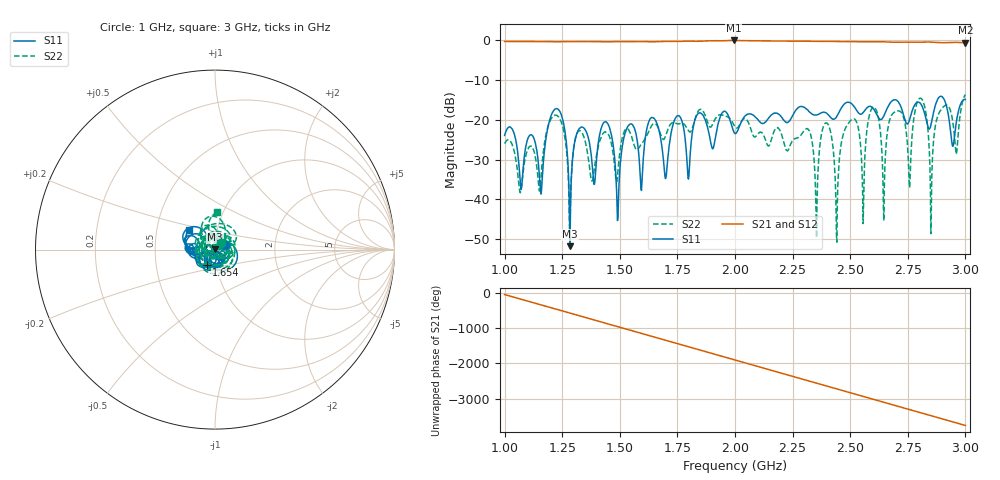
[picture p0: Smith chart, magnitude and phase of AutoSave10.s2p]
!Agilent N9923A: A.05.17
!Date: Sunday, 01 January 2006 13:13:32
!Model: N9923A
!Serial: MY50371189
!CHECKSUM:1636040764
!Correction: S11(ON U)S21(OFF)S12(OFF)S22(OFF)
!S2P File: Measurements:S11,S21,S12,S22:
# Hz S DB R 50
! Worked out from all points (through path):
!   1001 points, 1 GHz to 3 GHz, reference 50 ohm
!   highest |S21| = -0.04 dB at 1.994 GHz (marker M1); lowest = -0.6 dB at 3 GHz (marker M2)
!   group delay of S21, straight-line fit = 5.14 ns
!   lowest |S11| = -51.8 dB at 1.284 GHz (marker M3), VSWR 1.01, Z = 50 + j0.257 ohm
!   |S11| at or under -10 dB: start of sweep to end of sweep
!   |S22| runs from -50.8 to -13.6 dB; largest |S21 - S12| = 0.0057
!   S11 on the Smith chart (normalised r, x): 1 GHz: 1.12, +0.06; 1.654 GHz: 0.90, -0.16; 3 GHz: 0.73, +0.16
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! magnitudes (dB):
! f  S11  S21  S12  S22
! 1 GHz  -23.9  -0.3  -0.3  -26.0
! 1.158 GHz  -38.7  -0.3  -0.3  -34.3
! 1.232 GHz  -17.3  -0.4  -0.4  -19.1
! 1.284 GHz  -51.8  -0.3  -0.3  -47.1
! 1.334 GHz  -21.8  -0.3  -0.3  -23.1
! 1.448 GHz  -21.0  -0.4  -0.4  -23.5
! 1.49 GHz  -45.3  -0.3  -0.3  -34.0
! 1.654 GHz  -20.1  -0.4  -0.4  -21.0
! 1.668 GHz  -22.1  -0.3  -0.3  -22.2
! 1.994 GHz  -22.9  0.0  0.0  -21.2
! 2 GHz  -23.4  -0.1  -0.1  -21.7
! 2.334 GHz  -18.6  -0.3  -0.3  -25.2
! 2.354 GHz  -18.8  -0.3  -0.3  -49.6
! 2.404 GHz  -18.7  -0.3  -0.3  -21.2
! 2.442 GHz  -19.1  -0.3  -0.3  -50.8
! 2.496 GHz  -15.6  -0.4  -0.3  -20.5
! 2.556 GHz  -18.2  -0.4  -0.3  -46.1
! 2.668 GHz  -16.3  -0.4  -0.4  -20.8
! 2.758 GHz  -19.9  -0.4  -0.4  -37.1
! 2.81 GHz  -16.4  -0.5  -0.5  -14.7
! 2.852 GHz  -20.9  -0.5  -0.4  -42.8
! 3 GHz  -14.9  -0.6  -0.6  -13.6
